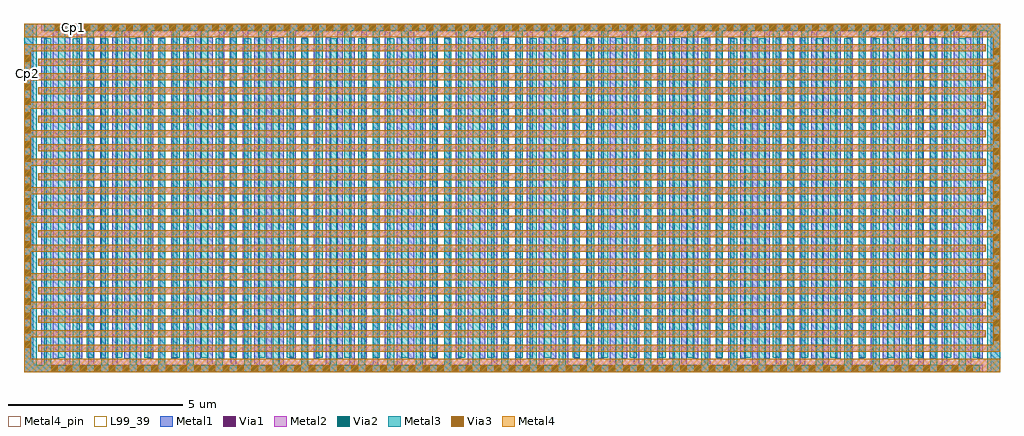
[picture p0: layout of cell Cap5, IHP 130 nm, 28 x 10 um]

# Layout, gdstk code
import gdstk
lib = gdstk.Library(unit=1e-6, precision=1e-09)
def R(c, l, rs):  # rectangles x0, y0, x1, y1
    for r in rs: c.add(gdstk.rectangle(r[:2], r[2:], *l))
def A(c, l, x, y, w, h, nx, ny, dx, dy):  # array of equal rectangles
    R(c, l, [(x+i*dx, y+j*dy, x+i*dx+w, y+j*dy+h) for i in range(nx) for j in range(ny)])
Metal1 = (8, 0)
Metal2 = (10, 0)
Via1 = (19, 0)
Via2 = (29, 0)
Metal3 = (30, 0)
Via3 = (49, 0)
Metal4 = (50, 0)
Metal4_pin = (50, 2)
L99_39 = (99, 39)

cap_mfringe = lib.new_cell('cap_mfringe')
A(cap_mfringe, Metal1, 0.49, 0, 0.16, 9.61, 40, 1, 0.68, 0)
A(cap_mfringe, Metal1, 0.83, 0.39, 0.16, 9.61, 40, 1, 0.68, 0)
R(cap_mfringe, Metal1, [(0,0,0.27,10), (0,0,27.51,0.21), (27.73,0,28,10), (0.49,9.79,28,10)])
A(cap_mfringe, Metal2, 0.42, 0.595, 27.58, 0.2, 1, 11, 0, 0.82)
A(cap_mfringe, Metal2, 0, 1.005, 27.58, 0.2, 1, 11, 0, 0.82)
R(cap_mfringe, Metal2, [(0,0,28,0.385), (0,0,0.205,9.405), (27.795,0.595,28,10), (0,9.615,28,10)])
A(cap_mfringe, Via1, 0.785, 0.01, 0.19, 0.19, 65, 1, 0.41, 0)
A(cap_mfringe, Via1, 0.01, 0.705, 0.19, 0.19, 1, 21, 0, 0.41)
A(cap_mfringe, Via1, 27.8, 0.905, 0.19, 0.19, 1, 21, 0, 0.41)
A(cap_mfringe, Via1, 0.885, 9.8, 0.19, 0.19, 65, 1, 0.41, 0)
A(cap_mfringe, Via2, 0.785, 0.005, 0.19, 0.19, 65, 1, 0.41, 0)
A(cap_mfringe, Via2, 0.005, 0.705, 0.19, 0.19, 1, 21, 0, 0.41)
A(cap_mfringe, Via2, 27.805, 0.905, 0.19, 0.19, 1, 21, 0, 0.41)
A(cap_mfringe, Via2, 0.885, 9.805, 0.19, 0.19, 65, 1, 0.41, 0)
A(cap_mfringe, Metal3, 0.575, 0, 0.2, 9.59, 33, 1, 0.82, 0)
A(cap_mfringe, Metal3, 0.985, 0.41, 0.2, 9.59, 33, 1, 0.82, 0)
R(cap_mfringe, Metal3, [(0,0,0.365,10), (0,0,27.425,0.2), (27.635,0,28,10), (0.575,9.8,28,10)])
A(cap_mfringe, Via3, 0.785, 0.005, 0.19, 0.19, 65, 1, 0.41, 0)
A(cap_mfringe, Via3, 0.005, 0.705, 0.19, 0.19, 1, 21, 0, 0.41)
A(cap_mfringe, Via3, 27.805, 0.905, 0.19, 0.19, 1, 21, 0, 0.41)
A(cap_mfringe, Via3, 0.885, 9.805, 0.19, 0.19, 65, 1, 0.41, 0)
A(cap_mfringe, Metal4, 0.41, 0.595, 27.59, 0.2, 1, 11, 0, 0.82)
A(cap_mfringe, Metal4, 0, 1.005, 27.59, 0.2, 1, 11, 0, 0.82)
R(cap_mfringe, Metal4, [(0,0,28,0.385), (0,0,0.2,9.405), (27.8,0.595,28,10), (0,9.615,28,10)])
R(cap_mfringe, Metal4_pin, [(0,4.9,0.2,5.1), (13.9,9.8,14.1,10)])
R(cap_mfringe, L99_39, [(0,0,28,10)])
cap_mfringe.add(gdstk.Label('cap_mfringe C=649.600fF', (0,-0.5), layer=63, texttype=0))

cap5 = lib.new_cell('Cap5')
cap5.add(gdstk.FlexPath([(0.1,8.875),(0.1,8.22)], 0.2, ends="flush", simple_path=True, layer=50, datatype=2))  # Metal4_pin
cap5.add(gdstk.FlexPath([(1.285,9.85),(1.725,9.85)], 0.2, ends="flush", simple_path=True, layer=50, datatype=2))  # Metal4_pin
r = gdstk.Reference(cap_mfringe, (0,0)); r.repetition = gdstk.Repetition(1, 1, v1=(0,0), v2=(0,0)); cap5.add(r)
cap5.add(gdstk.Label('Cp2', (0.1,8.565), layer=50, texttype=25))
cap5.add(gdstk.Label('Cp1', (1.42,9.885), layer=50, texttype=25))

lib.write_gds('Cap5.gds')
